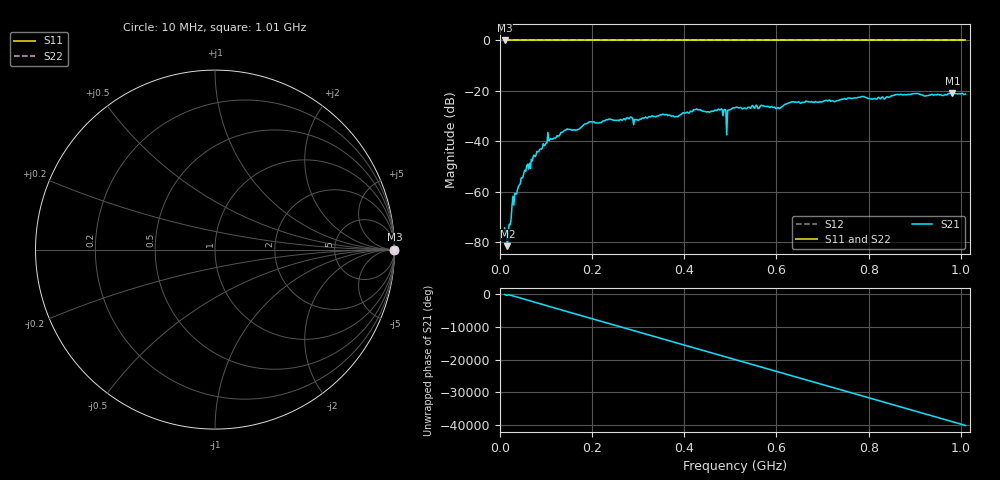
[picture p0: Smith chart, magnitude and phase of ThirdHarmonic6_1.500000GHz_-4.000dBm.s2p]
! 8/16/2025 5:36:49 PM
! C:\ANRITSUVNA\TEMP\TEMP.S2P
! CHANNEL.1
! TR.MEASUREMENT
! RAW.DATA
! RF.CORRECTION.OFF
! AVERAGING.OFF
! IF.BANDWIDTH: 5KHZ
! SWEEPTYPE:  FREQ.SWEEP(Linear)
! Reference Plane Port Info
! PORT:  PORT1  PORT2
! DISTANCE:  0  m  0  m
! TIME:  0  s  0  s
! PHASE.OFFSET:  0  deg.  0  deg.
! LOSS:  0  dB  0  dB
! REF.LOSS:  0  dB  0  dB
! REF.FREQ:  0  Hz  0  Hz
! Power Info
! POWER:  -20  dBm  -20  dBm
! EFF.POWER:  -20  dBm  -20  dBm
! SOURCE.ATTEN:  0  dB  0  dB
! TEST.ATTEN:  0  dB  0  dB
# GHZ S RI R 50.0
! FREQ.GHZ  S11RE  S11IM  S21RE  S21IM  S12RE  S12IM  S22RE  S22IM
!; PortSelection: Port_12
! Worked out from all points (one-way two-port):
!   501 points, 10 MHz to 1.01 GHz, reference 50 ohm
!   highest |S21| = -20.80 dB at 982 MHz (marker M1); lowest = -81.6 dB at 16 MHz (marker M2)
!   lowest |S11| = 0.0 dB at 10 MHz (marker M3)
!   |S11| at or under -10 dB: nowhere
!   |S22| runs from 0.0 to 0.0 dB; largest |S21 - S12| = 1.1
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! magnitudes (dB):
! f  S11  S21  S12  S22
! 10 MHz  0.0  -74.4  0.0  0.0
! 16 MHz  0.0  -81.6  0.0  0.0
! 20 MHz  0.0  -73.0  0.0  0.0
! 30 MHz  0.0  -65.3  0.0  0.0
! 56 MHz  0.0  -51.9  0.0  0.0
! 76 MHz  0.0  -46.1  0.0  0.0
! 108 MHz  0.0  -39.3  0.0  0.0
! 178 MHz  0.0  -34.2  0.0  0.0
! 234 MHz  0.0  -31.5  0.0  0.0
! 294 MHz  0.0  -31.4  0.0  0.0
! 344 MHz  0.0  -30.0  0.0  0.0
! 382 MHz  0.0  -30.2  0.0  0.0
! 478 MHz  0.0  -27.6  0.0  0.0
! 486 MHz  0.0  -27.6  0.0  0.0
! 488 MHz  0.0  -27.4  0.0  0.0
! 510 MHz  0.0  -26.7  0.0  0.0
! 604 MHz  0.0  -26.6  0.0  0.0
! 634 MHz  0.0  -24.3  0.0  0.0
! 678 MHz  0.0  -24.5  0.0  0.0
! 844 MHz  0.0  -22.5  0.0  0.0
! 982 MHz  0.0  -20.8  0.0  0.0
! 1.01 GHz  0.0  -21.3  0.0  0.0
